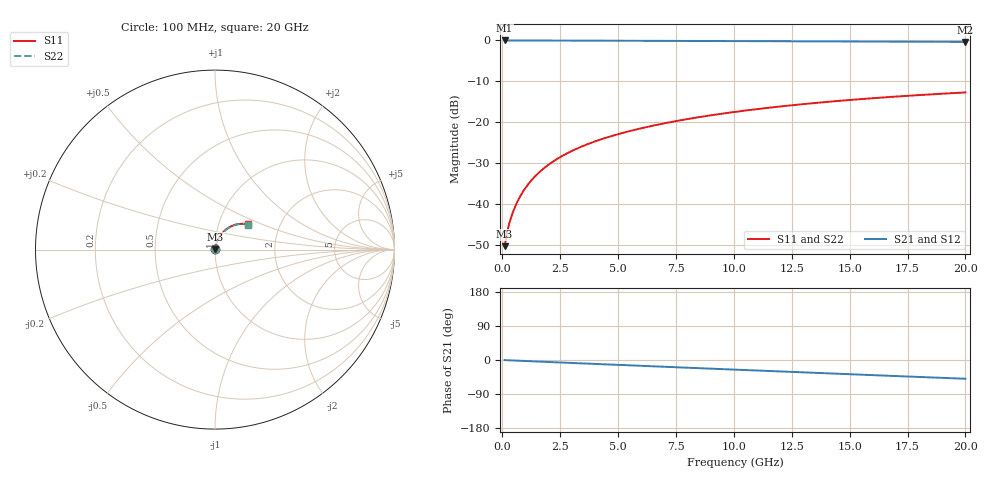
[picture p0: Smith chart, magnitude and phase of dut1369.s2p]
! Touchstone file exported from HFSS 2026.1.0
!  File:  C:/ffzhzh/LocalFiles/Ansys_Project_Files/temp_train_TMRDL_1369_1783165833_43440.aedt
!  Generated:  07:51:49 PM Jul  4, 2026
!  Design:  TMRDL
!  Project:  temp_train_TMRDL_1369_1783165833_43440
! Variables:
!  h_bsmrdl = 2um
!  h_ox = 20um
!  h_rdl = 5um
!  h_sub = 80um
!  h_tmrdl = 5.47um
!  h_tsv = 80um
!  h_via = 3um
!  l_bsmrdl = 300um
!  l_sub = 1247.15um
!  l_tmrdl = 847.15um
!  m_sub = 200um
!  pitch = 38.75um
!  r_tsv = 6um
!  s_tmrdl = 10um
!  w_bsmrdl = 18um
!  w_sub = 500um
!  w_tmrdl = 25.37um
!  x_tsv_center1 = 859.835um
!  x_tsv_center2 = 1177.835um
!  x_tsv_center3 = 2050.355um
!  x_tsv_center4 = 2368.355um
!  x_tsv_center5 = 3240.875um
!  x_tsv_center6 = 3558.875um
# GHz S MA R 50.000000
! Terminal data exported
! Port[1] = TM_RDL1_1_T1
! Port[2] = TM_RDL1_1_T2
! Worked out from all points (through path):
!   200 points, 100 MHz to 20 GHz, reference 50 ohm
!   highest |S21| = -0.02 dB at 100 MHz (marker M1); lowest = -0.4 dB at 20 GHz (marker M2)
!   group delay of S21, straight-line fit = 6.86 ps
!   lowest |S11| = -50.2 dB at 100 MHz (marker M3), VSWR 1.01, Z = 50.2 + j0.191 ohm
!   |S11| at or under -10 dB: start of sweep to end of sweep
!   |S22| runs from -50.2 to -12.7 dB; largest |S21 - S12| = 1.1e-14
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0.1  0.003099 37.8  0.9976 -0.3  0.9976 -0.3  0.003099 37.8
! Gamma 0 0 0 0
! Port Impedance 50 0 50 0
0.2  0.004486 52.0  0.9973 -0.6  0.9973 -0.6  0.004486 52.0
0.3  0.005857 59.1  0.9971 -0.8  0.9971 -0.8  0.005858 59.1
0.4  0.00723 63.8  0.9969 -1.1  0.9969 -1.1  0.00723 63.8
0.5  0.008625 67.1  0.9968 -1.3  0.9968 -1.3  0.008626 67.1
0.6  0.01005 69.5  0.9967 -1.6  0.9967 -1.6  0.01005 69.5
0.8  0.01294 72.7  0.9966 -2.1  0.9966 -2.1  0.01294 72.7
1.1  0.01735 75.1  0.9963 -2.9  0.9963 -2.9  0.01735 75.1
1.3  0.0203 75.9  0.9961 -3.4  0.9961 -3.4  0.0203 75.9
1.6  0.02472 76.4  0.9957 -4.2  0.9957 -4.2  0.02472 76.4
2.1  0.03201 76.3  0.995 -5.5  0.995 -5.5  0.03201 76.3
2.7  0.0406 75.6  0.994 -7.0  0.994 -7.0  0.0406 75.6
3.5  0.05175 74.1  0.9925 -9.1  0.9925 -9.1  0.05175 74.1
4.2  0.06125 72.7  0.9913 -10.9  0.9913 -10.9  0.06125 72.7
5  0.07187 71.0  0.9898 -12.9  0.9898 -12.9  0.07187 71.0
5.9  0.08355 69.1  0.9881 -15.1  0.9881 -15.1  0.08355 69.0
6.8  0.09498 67.2  0.9864 -17.4  0.9864 -17.4  0.09499 67.1
8.3  0.1135 63.9  0.9835 -21.1  0.9835 -21.1  0.1135 63.8
10.1  0.1349 59.8  0.9798 -25.6  0.9798 -25.6  0.1349 59.7
13.4  0.1714 52.4  0.9727 -33.7  0.9727 -33.7  0.1714 52.2
16.7  0.2038 44.8  0.9655 -41.6  0.9655 -41.6  0.2038 44.6
20  0.2317 37.3  0.9584 -49.5  0.9584 -49.5  0.2317 37.1
